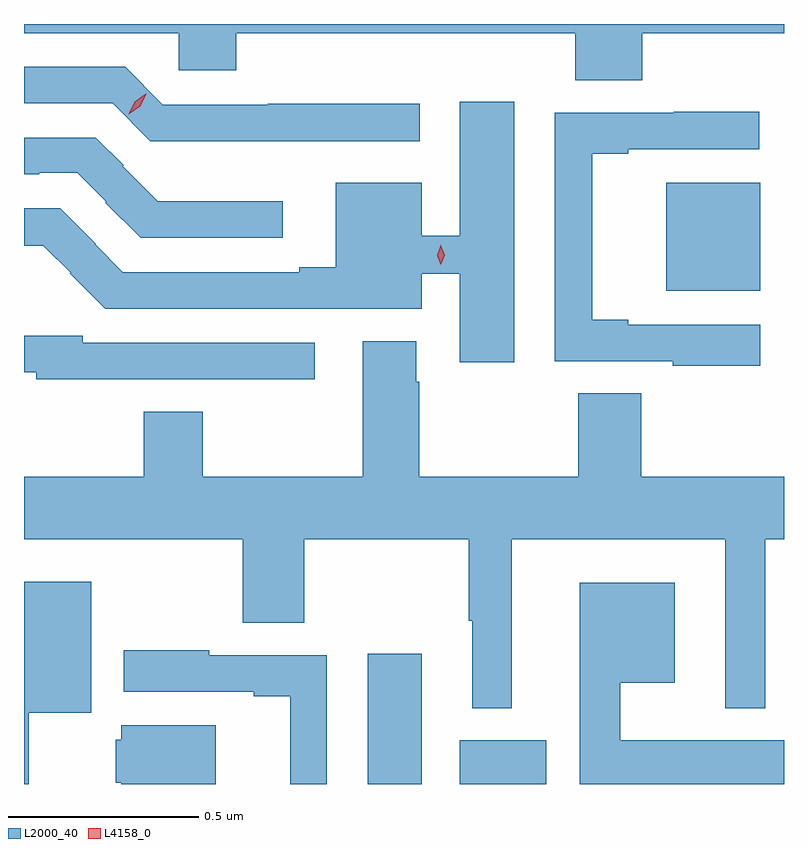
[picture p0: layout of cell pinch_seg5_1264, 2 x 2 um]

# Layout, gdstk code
import gdstk
lib = gdstk.Library(unit=1e-6, precision=1e-09)
def R(c, l, rs):  # rectangles x0, y0, x1, y1
    for r in rs: c.add(gdstk.rectangle(r[:2], r[2:], *l))
def P(c, l, *ps):  # polygons
    for p in ps: c.add(gdstk.Polygon(p, *l))
L2000_40 = (2000, 40)
L4158_0 = (4158, 0)

pinch_seg5_1264 = lib.new_cell('pinch_seg5_1264')
R(pinch_seg5_1264, L2000_40, [(450.167,873.432,450.31,873.775), (450.41,873.432,450.637,873.547), (450.953,874.73,451.201,875.014)])
P(pinch_seg5_1264, L2000_40, [(450.89,875.408),(451.263,875.408),(451.263,875.432),(449.263,875.432),(449.263,875.408),(449.67,875.408),(449.67,875.31),(449.822,875.31),(449.822,875.408),(450.713,875.408),(450.713,875.284),(450.89,875.284)],
  [(449.931,875.124),(450.304,875.124),(450.304,875.222),(449.905,875.222),(449.905,875.22),(449.628,875.22),(449.529,875.319),(449.263,875.319),(449.263,875.223),(449.496,875.223),(449.595,875.124),(449.692,875.124),(449.692,875.123),(449.931,875.123)],
  [(450.553,875.227),(450.41,875.227),(450.41,874.875),(450.31,874.875),(450.31,875.014),(450.083,875.014),(450.083,874.792),(449.987,874.792),(449.987,874.779),(449.523,874.779),(449.45,874.852),(449.452,874.854),(449.359,874.947),(449.263,874.947),(449.263,874.849),(449.314,874.849),(449.386,874.777),(449.384,874.776),(449.477,874.683),(450.31,874.683),(450.31,874.775),(450.41,874.775),(450.41,874.542),(450.553,874.542)],
  [(451.201,874.641),(450.853,874.641),(450.853,874.654),(450.758,874.654),(450.758,875.091),(450.853,875.091),(450.853,875.103),(451.198,875.103),(451.198,875.201),(450.973,875.201),(450.973,875.199),(450.66,875.199),(450.66,874.545),(450.97,874.545),(450.97,874.533),(451.201,874.533)],
  [(449.944,874.966),(449.615,874.966),(449.523,875.058),(449.525,875.06),(449.452,875.133),(449.263,875.133),(449.263,875.037),(449.303,875.037),(449.303,875.04),(449.403,875.04),(449.479,874.964),(449.477,874.962),(449.57,874.869),(449.944,874.869)],
  [(450.028,874.593),(449.418,874.593),(449.418,874.612),(449.263,874.612),(449.263,874.515),(449.295,874.515),(449.295,874.497),(450.028,874.497)],
  [(450.547,874.076),(451.109,874.076),(451.109,873.632),(451.213,873.632),(451.213,874.076),(451.263,874.076),(451.263,874.24),(450.887,874.24),(450.887,874.46),(450.721,874.46),(450.721,874.24),(450.303,874.24),(450.303,874.49),(450.295,874.49),(450.295,874.597),(450.155,874.597),(450.155,874.24),(449.733,874.24),(449.733,874.412),(449.578,874.412),(449.578,874.24),(449.263,874.24),(449.263,874.076),(449.839,874.076),(449.839,873.856),(450,873.856),(450,874.076),(450.433,874.076),(450.433,873.862),(450.443,873.862),(450.443,873.632),(450.547,873.632)],
  [(449.275,873.62),(449.44,873.62),(449.44,873.964),(449.263,873.964),(449.263,873.432),(449.275,873.432)],
  [(451.263,873.547),(450.832,873.547),(450.832,873.698),(450.976,873.698),(450.976,873.961),(450.725,873.961),(450.725,873.432),(451.263,873.432)],
  [(450.06,873.771),(449.75,873.771),(449.75,873.784),(449.525,873.784),(449.525,873.675),(449.867,873.675),(449.867,873.663),(449.963,873.663),(449.963,873.432),(450.06,873.432)],
  [(449.767,873.586),(449.519,873.586),(449.519,873.549),(449.504,873.549),(449.504,873.435),(449.519,873.435),(449.519,873.432),(449.767,873.432)])
P(pinch_seg5_1264, L4158_0, [(450.36,874.798),(450.36,874.798),(450.35,874.824),(450.36,874.85),(450.36,874.851),(450.36,874.85),(450.37,874.824),(450.36,874.798)],
  [(449.538,875.194),(449.538,875.194),(449.554,875.228),(449.584,875.249),(449.585,875.249),(449.585,875.249),(449.569,875.215),(449.539,875.194)])

lib.write_gds('pinch_seg5_1264.gds')
